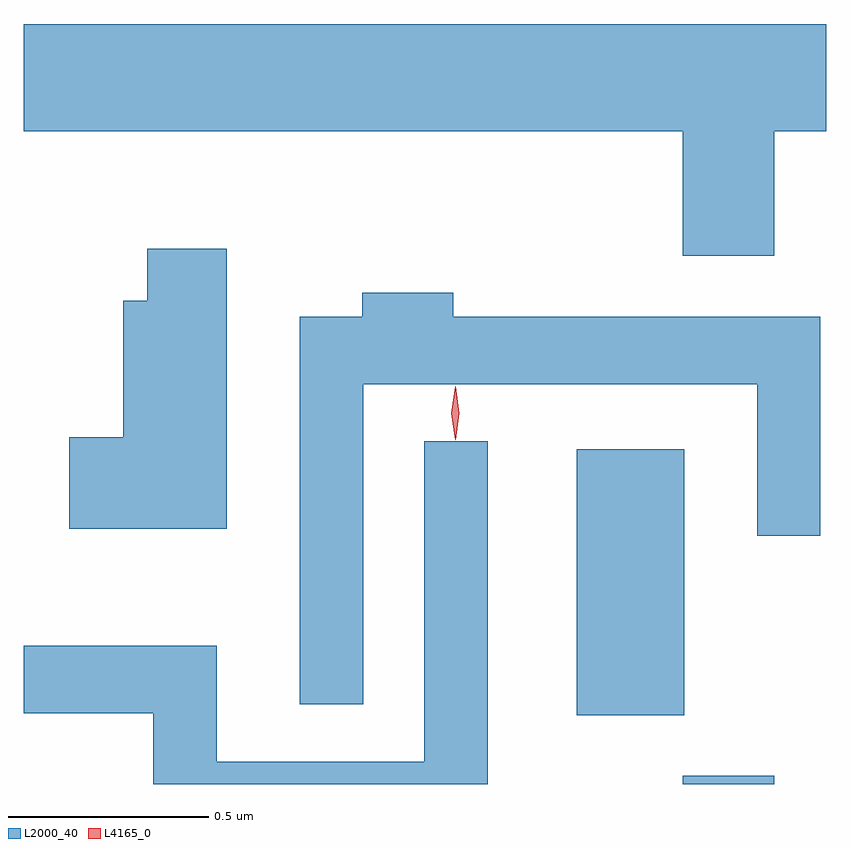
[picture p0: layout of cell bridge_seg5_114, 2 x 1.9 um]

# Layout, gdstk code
import gdstk
lib = gdstk.Library(unit=1e-6, precision=1e-09)
def R(c, l, rs):  # rectangles x0, y0, x1, y1
    for r in rs: c.add(gdstk.rectangle(r[:2], r[2:], *l))
def P(c, l, *ps):  # polygons
    for p in ps: c.add(gdstk.Polygon(p, *l))
L2000_40 = (2000, 40)
L4165_0 = (4165, 0)

bridge_seg5_114 = lib.new_cell('bridge_seg5_114')
R(bridge_seg5_114, L2000_40, [(1198.611,1497.349,1198.839,1497.369), (1198.346,1497.521,1198.614,1498.184)])
P(bridge_seg5_114, L2000_40, [(1198.839,1498.976),(1198.968,1498.976),(1198.968,1499.244),(1196.968,1499.244),(1196.968,1498.976),(1198.611,1498.976),(1198.611,1498.666),(1198.839,1498.666)],
  [(1197.474,1498.684),(1197.276,1498.684),(1197.276,1498.554),(1197.216,1498.554),(1197.216,1498.214),(1197.081,1498.214),(1197.081,1497.986),(1197.474,1497.986)],
  [(1197.814,1498.346),(1198.796,1498.346),(1198.796,1497.968),(1198.954,1497.968),(1198.954,1498.514),(1198.039,1498.514),(1198.039,1498.574),(1197.811,1498.574),(1197.811,1498.514),(1197.656,1498.514),(1197.656,1497.548),(1197.814,1497.548)],
  [(1198.124,1498.203),(1197.966,1498.203),(1197.966,1497.404),(1197.449,1497.404),(1197.449,1497.694),(1196.968,1497.694),(1196.968,1497.526),(1197.291,1497.526),(1197.291,1497.349),(1198.124,1497.349)])
P(bridge_seg5_114, L4165_0, [(1198.044,1498.207),(1198.044,1498.207),(1198.034,1498.274),(1198.044,1498.34),(1198.044,1498.341),(1198.045,1498.34),(1198.054,1498.274),(1198.045,1498.207)])

lib.write_gds('bridge_seg5_114.gds')
